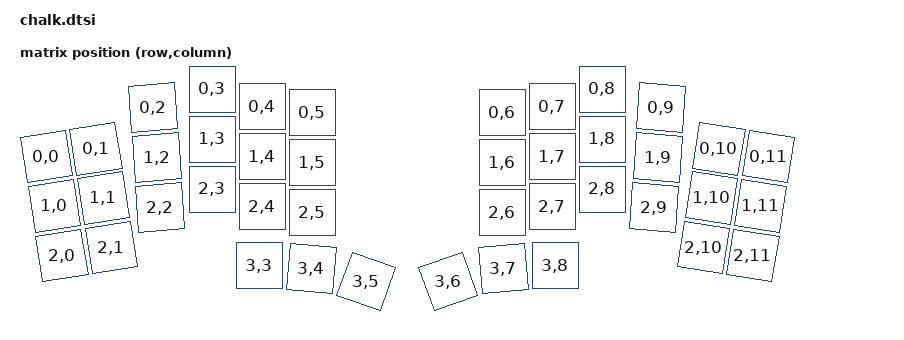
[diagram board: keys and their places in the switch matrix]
/*
 * Copyright (c) 2022 The ZMK Contributors
 *
 * SPDX-License-Identifier: MIT
 */

#include <dt-bindings/zmk/matrix_transform.h>
#include <physical_layouts.dtsi>


/ {

    chosen {
        zmk,physical-layout = &physical_layout0;
    };

    physical_layout0: physical_layout_0 {
        compatible = "zmk,physical-layout";
        display-name = "Chalk Layout";
        transform = <&default_transform>;
        keys  //                     w   h    x    y     rot    rx    ry
            = <&key_physical_attrs 100 100    0  135  (-900)    50   185>
            , <&key_physical_attrs 100 100   99  120  (-900)   149   170>
            , <&key_physical_attrs 100 100  214   37  (-400)   264    87>
            , <&key_physical_attrs 100 100  332    0       0     0     0>
            , <&key_physical_attrs 100 100  432   35       0     0     0>
            , <&key_physical_attrs 100 100  532   47       0     0     0>
            , <&key_physical_attrs 100 100  912   47       0     0     0>
            , <&key_physical_attrs 100 100 1012   35       0     0     0>
            , <&key_physical_attrs 100 100 1112    0       0     0     0>
            , <&key_physical_attrs 100 100 1230   37     400  1280    87>
            , <&key_physical_attrs 100 100 1345  120     900  1395   170>
            , <&key_physical_attrs 100 100 1444  135     900  1494   185>
            , <&key_physical_attrs 100 100   16  234  (-900)    66   284>
            , <&key_physical_attrs 100 100  114  218  (-900)   164   268>
            , <&key_physical_attrs 100 100  221  137  (-400)   271   187>
            , <&key_physical_attrs 100 100  332  100       0     0     0>
            , <&key_physical_attrs 100 100  432  135       0     0     0>
            , <&key_physical_attrs 100 100  532  147       0     0     0>
            , <&key_physical_attrs 100 100  912  147       0     0     0>
            , <&key_physical_attrs 100 100 1012  135       0     0     0>
            , <&key_physical_attrs 100 100 1112  100       0     0     0>
            , <&key_physical_attrs 100 100 1223  137     400  1273   187>
            , <&key_physical_attrs 100 100 1330  218     900  1380   268>
            , <&key_physical_attrs 100 100 1428  234     900  1478   284>
            , <&key_physical_attrs 100 100   31  333  (-900)    81   383>
            , <&key_physical_attrs 100 100  130  317  (-900)   180   367>
            , <&key_physical_attrs 100 100  228  237  (-400)   278   287>
            , <&key_physical_attrs 100 100  332  200       0     0     0>
            , <&key_physical_attrs 100 100  432  235       0     0     0>
            , <&key_physical_attrs 100 100  532  247       0     0     0>
            , <&key_physical_attrs 100 100  912  247       0     0     0>
            , <&key_physical_attrs 100 100 1012  235       0     0     0>
            , <&key_physical_attrs 100 100 1112  200       0     0     0>
            , <&key_physical_attrs 100 100 1216  237     400  1266   287>
            , <&key_physical_attrs 100 100 1314  317     900  1364   367>
            , <&key_physical_attrs 100 100 1413  333     900  1463   383>
            , <&key_physical_attrs 100 100  426  353       0     0     0>
            , <&key_physical_attrs 100 100  530  359     500   580   409>
            , <&key_physical_attrs 100 100  640  385    2000   690   435>
            , <&key_physical_attrs 100 100  804  385 (-2000)   854   435>
            , <&key_physical_attrs 100 100  914  359  (-500)   964   409>
            , <&key_physical_attrs 100 100 1018  353       0     0     0>
            ;
    };
    default_transform: keymap_transform_0 {
        compatible = "zmk,matrix-transform";
        columns = <12>;
        rows = <4>;
// | SW1  | SW2  | SW3  | SW4  | SW5  | SW6  |   | SW6  | SW5  | SW4  | SW3  | SW2  | SW1  |
// | SW7  | SW8  | SW9  | SW10 | SW11 | SW12 |   | SW12 | SW11 | SW10 | SW9  | SW8  | SW7  |
// | SW13 | SW14 | SW15 | SW16 | SW17 | SW18 |   | SW18 | SW17 | SW16 | SW15 | SW14 | SW13 |
//                      | SW19 | SW20 | SW21 |   | SW21 | SW20 | SW19 |
        map = <
RC(0,0) RC(0,1) RC(0,2) RC(0,3) RC(0,4) RC(0,5)  RC(0,6) RC(0,7) RC(0,8) RC(0,9) RC(0,10) RC(0,11)
RC(1,0) RC(1,1) RC(1,2) RC(1,3) RC(1,4) RC(1,5)  RC(1,6) RC(1,7) RC(1,8) RC(1,9) RC(1,10) RC(1,11)
RC(2,0) RC(2,1) RC(2,2) RC(2,3) RC(2,4) RC(2,5)  RC(2,6) RC(2,7) RC(2,8) RC(2,9) RC(2,10) RC(2,11)
                        RC(3,3) RC(3,4) RC(3,5)  RC(3,6) RC(3,7) RC(3,8)
        >;
    };


};


